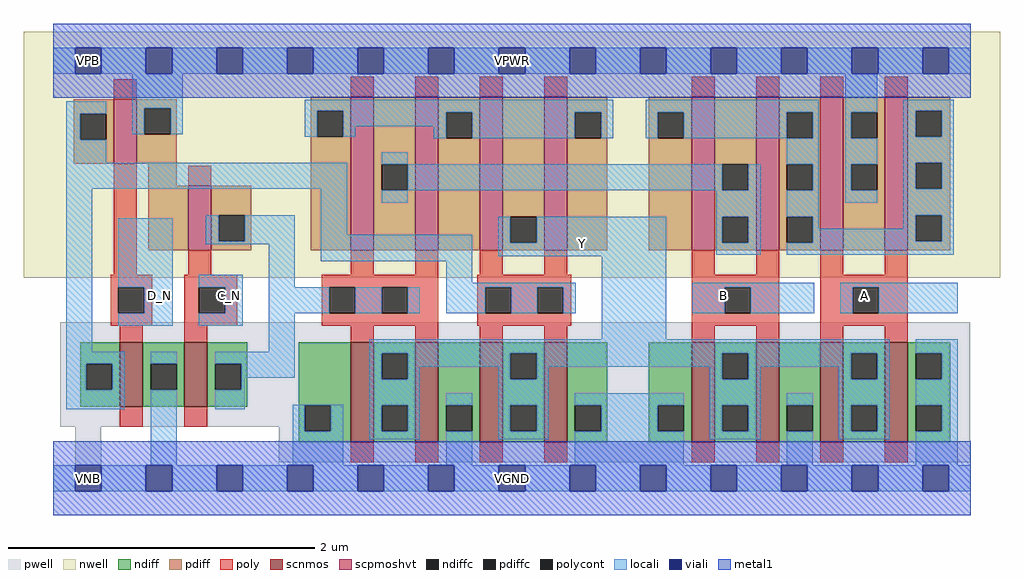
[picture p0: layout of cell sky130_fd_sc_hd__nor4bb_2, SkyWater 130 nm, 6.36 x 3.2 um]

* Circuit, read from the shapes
.subckt sky130_fd_sc_hd__nor4bb_2 A B C_N D_N VGND VNB VPB VPWR Y
XM1 VGND D_N n1 VNB sky130_fd_pr__nfet_01v8 w=0.42 l=0.15
XM2 n2 C_N VGND VNB sky130_fd_pr__nfet_01v8 w=0.42 l=0.15
XM3 Y n2 VGND VNB sky130_fd_pr__nfet_01v8 w=0.65 l=0.15 m=2
XM4 Y n1 VGND VNB sky130_fd_pr__nfet_01v8 w=0.65 l=0.15 m=2
XM5 Y B VGND VNB sky130_fd_pr__nfet_01v8 w=0.65 l=0.15 m=2
XM6 Y A VGND VNB sky130_fd_pr__nfet_01v8 w=0.65 l=0.15 m=2
XM7 VPWR D_N n1 VPB sky130_fd_pr__pfet_01v8_hvt w=0.42 l=0.15
XM8 n2 C_N VPWR VPB sky130_fd_pr__pfet_01v8_hvt w=0.42 l=0.15
XM9 n3 n2 n4 VPB sky130_fd_pr__pfet_01v8_hvt w=1 l=0.15 m=2
XM10 Y n1 n4 VPB sky130_fd_pr__pfet_01v8_hvt w=1 l=0.15 m=2
XM11 n3 B n5 VPB sky130_fd_pr__pfet_01v8_hvt w=1 l=0.15 m=2
XM12 VPWR A n5 VPB sky130_fd_pr__pfet_01v8_hvt w=1 l=0.15 m=2
.ends

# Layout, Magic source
magic
tech sky130A
magscale 1 2
<< nwell >>
rect -38 261 1234 582
<< pwell >>
rect 9 67 1195 203
rect 29 -17 63 67
rect 294 21 1195 67
<< scnmos >>
rect 87 93 117 177
rect 171 93 201 177
rect 388 47 418 177
rect 472 47 502 177
rect 556 47 586 177
rect 640 47 670 177
rect 832 47 862 177
rect 916 47 946 177
rect 1000 47 1030 177
rect 1084 47 1114 177
<< scpmoshvt >>
rect 79 410 109 494
rect 176 297 206 381
rect 388 297 418 497
rect 472 297 502 497
rect 556 297 586 497
rect 640 297 670 497
rect 832 297 862 497
rect 916 297 946 497
rect 1000 297 1030 497
rect 1084 297 1114 497
<< ndiff >>
rect 35 149 87 177
rect 35 115 43 149
rect 77 115 87 149
rect 35 93 87 115
rect 117 149 171 177
rect 117 115 127 149
rect 161 115 171 149
rect 117 93 171 115
rect 201 149 253 177
rect 201 115 211 149
rect 245 115 253 149
rect 201 93 253 115
rect 320 95 388 177
rect 320 61 328 95
rect 362 61 388 95
rect 320 47 388 61
rect 418 163 472 177
rect 418 129 428 163
rect 462 129 472 163
rect 418 95 472 129
rect 418 61 428 95
rect 462 61 472 95
rect 418 47 472 61
rect 502 95 556 177
rect 502 61 512 95
rect 546 61 556 95
rect 502 47 556 61
rect 586 163 640 177
rect 586 129 596 163
rect 630 129 640 163
rect 586 95 640 129
rect 586 61 596 95
rect 630 61 640 95
rect 586 47 640 61
rect 670 95 722 177
rect 670 61 680 95
rect 714 61 722 95
rect 670 47 722 61
rect 776 95 832 177
rect 776 61 788 95
rect 822 61 832 95
rect 776 47 832 61
rect 862 163 916 177
rect 862 129 872 163
rect 906 129 916 163
rect 862 95 916 129
rect 862 61 872 95
rect 906 61 916 95
rect 862 47 916 61
rect 946 95 1000 177
rect 946 61 956 95
rect 990 61 1000 95
rect 946 47 1000 61
rect 1030 163 1084 177
rect 1030 129 1040 163
rect 1074 129 1084 163
rect 1030 95 1084 129
rect 1030 61 1040 95
rect 1074 61 1084 95
rect 1030 47 1084 61
rect 1114 163 1169 177
rect 1114 129 1124 163
rect 1158 129 1169 163
rect 1114 95 1169 129
rect 1114 61 1124 95
rect 1158 61 1169 95
rect 1114 47 1169 61
<< pdiff >>
rect 27 475 79 494
rect 27 441 35 475
rect 69 441 79 475
rect 27 410 79 441
rect 109 482 161 494
rect 109 448 119 482
rect 153 448 161 482
rect 109 410 161 448
rect 124 381 161 410
rect 336 479 388 497
rect 336 445 344 479
rect 378 445 388 479
rect 124 297 176 381
rect 206 343 258 381
rect 206 309 216 343
rect 250 309 258 343
rect 206 297 258 309
rect 336 297 388 445
rect 418 409 472 497
rect 418 375 428 409
rect 462 375 472 409
rect 418 297 472 375
rect 502 477 556 497
rect 502 443 512 477
rect 546 443 556 477
rect 502 297 556 443
rect 586 341 640 497
rect 586 307 596 341
rect 630 307 640 341
rect 586 297 640 307
rect 670 477 722 497
rect 670 443 680 477
rect 714 443 722 477
rect 670 297 722 443
rect 776 477 832 497
rect 776 443 788 477
rect 822 443 832 477
rect 776 297 832 443
rect 862 409 916 497
rect 862 375 872 409
rect 906 375 916 409
rect 862 341 916 375
rect 862 307 872 341
rect 906 307 916 341
rect 862 297 916 307
rect 946 477 1000 497
rect 946 443 956 477
rect 990 443 1000 477
rect 946 409 1000 443
rect 946 375 956 409
rect 990 375 1000 409
rect 946 341 1000 375
rect 946 307 956 341
rect 990 307 1000 341
rect 946 297 1000 307
rect 1030 477 1084 497
rect 1030 443 1040 477
rect 1074 443 1084 477
rect 1030 409 1084 443
rect 1030 375 1040 409
rect 1074 375 1084 409
rect 1030 297 1084 375
rect 1114 479 1169 497
rect 1114 445 1124 479
rect 1158 445 1169 479
rect 1114 411 1169 445
rect 1114 377 1124 411
rect 1158 377 1169 411
rect 1114 343 1169 377
rect 1114 309 1124 343
rect 1158 309 1169 343
rect 1114 297 1169 309
<< ndiffc >>
rect 43 115 77 149
rect 127 115 161 149
rect 211 115 245 149
rect 328 61 362 95
rect 428 129 462 163
rect 428 61 462 95
rect 512 61 546 95
rect 596 129 630 163
rect 596 61 630 95
rect 680 61 714 95
rect 788 61 822 95
rect 872 129 906 163
rect 872 61 906 95
rect 956 61 990 95
rect 1040 129 1074 163
rect 1040 61 1074 95
rect 1124 129 1158 163
rect 1124 61 1158 95
<< pdiffc >>
rect 35 441 69 475
rect 119 448 153 482
rect 344 445 378 479
rect 216 309 250 343
rect 428 375 462 409
rect 512 443 546 477
rect 596 307 630 341
rect 680 443 714 477
rect 788 443 822 477
rect 872 375 906 409
rect 872 307 906 341
rect 956 443 990 477
rect 956 375 990 409
rect 956 307 990 341
rect 1040 443 1074 477
rect 1040 375 1074 409
rect 1124 445 1158 479
rect 1124 377 1158 411
rect 1124 309 1158 343
<< poly >>
rect 79 494 109 520
rect 388 497 418 523
rect 472 497 502 523
rect 556 497 586 523
rect 640 497 670 523
rect 832 497 862 523
rect 916 497 946 523
rect 1000 497 1030 523
rect 1084 497 1114 523
rect 79 265 109 410
rect 176 381 206 407
rect 176 265 206 297
rect 388 265 418 297
rect 472 265 502 297
rect 556 265 586 297
rect 640 265 670 297
rect 832 265 862 297
rect 916 265 946 297
rect 75 249 129 265
rect 75 215 85 249
rect 119 215 129 249
rect 75 199 129 215
rect 171 249 240 265
rect 171 215 190 249
rect 224 215 240 249
rect 171 199 240 215
rect 350 249 502 265
rect 350 215 360 249
rect 394 215 428 249
rect 462 215 502 249
rect 350 199 502 215
rect 553 249 675 265
rect 553 215 563 249
rect 597 215 631 249
rect 665 215 675 249
rect 553 199 675 215
rect 832 249 946 265
rect 832 215 875 249
rect 909 215 946 249
rect 832 199 946 215
rect 87 177 117 199
rect 171 177 201 199
rect 388 177 418 199
rect 472 177 502 199
rect 556 177 586 199
rect 640 177 670 199
rect 832 177 862 199
rect 916 177 946 199
rect 1000 265 1030 297
rect 1084 265 1114 297
rect 1000 249 1114 265
rect 1000 215 1042 249
rect 1076 215 1114 249
rect 1000 199 1114 215
rect 1000 177 1030 199
rect 1084 177 1114 199
rect 87 67 117 93
rect 171 67 201 93
rect 388 21 418 47
rect 472 21 502 47
rect 556 21 586 47
rect 640 21 670 47
rect 832 21 862 47
rect 916 21 946 47
rect 1000 21 1030 47
rect 1084 21 1114 47
<< polycont >>
rect 85 215 119 249
rect 190 215 224 249
rect 360 215 394 249
rect 428 215 462 249
rect 563 215 597 249
rect 631 215 665 249
rect 875 215 909 249
rect 1042 215 1076 249
<< locali >>
rect 0 527 29 561
rect 63 527 121 561
rect 155 527 213 561
rect 247 527 305 561
rect 339 527 397 561
rect 431 527 489 561
rect 523 527 581 561
rect 615 527 673 561
rect 707 527 765 561
rect 799 527 857 561
rect 891 527 949 561
rect 983 527 1041 561
rect 1075 527 1133 561
rect 1167 527 1196 561
rect 17 475 69 491
rect 17 441 35 475
rect 103 482 169 527
rect 103 448 119 482
rect 153 448 169 482
rect 328 479 730 493
rect 328 445 344 479
rect 378 477 730 479
rect 378 459 512 477
rect 378 445 394 459
rect 496 443 512 459
rect 546 443 680 477
rect 714 443 730 477
rect 772 477 998 493
rect 772 443 788 477
rect 822 443 956 477
rect 990 443 998 477
rect 17 411 69 441
rect 17 377 383 411
rect 17 165 51 377
rect 85 249 156 339
rect 199 309 216 343
rect 250 309 315 343
rect 199 305 315 309
rect 119 215 156 249
rect 85 199 156 215
rect 190 249 247 265
rect 224 215 247 249
rect 190 199 247 215
rect 281 249 315 305
rect 349 317 383 377
rect 428 409 462 425
rect 956 409 998 443
rect 462 375 872 409
rect 906 375 922 409
rect 428 359 462 375
rect 864 341 922 375
rect 349 283 546 317
rect 580 307 596 341
rect 630 307 799 341
rect 580 289 799 307
rect 864 307 872 341
rect 906 307 922 341
rect 864 291 922 307
rect 990 375 998 409
rect 956 341 998 375
rect 1032 477 1074 527
rect 1032 443 1040 477
rect 1032 409 1074 443
rect 1032 375 1040 409
rect 1032 359 1074 375
rect 1108 479 1174 493
rect 1108 445 1124 479
rect 1158 445 1174 479
rect 1108 411 1174 445
rect 1108 377 1124 411
rect 1158 377 1174 411
rect 990 325 998 341
rect 1108 343 1174 377
rect 1108 325 1124 343
rect 990 309 1124 325
rect 1158 309 1174 343
rect 990 307 1174 309
rect 956 291 1174 307
rect 512 255 546 283
rect 512 249 681 255
rect 281 215 360 249
rect 394 215 428 249
rect 462 215 478 249
rect 512 215 563 249
rect 597 215 631 249
rect 665 215 681 249
rect 281 165 315 215
rect 715 181 799 289
rect 833 249 992 255
rect 833 215 875 249
rect 909 215 992 249
rect 1026 249 1179 255
rect 1026 215 1042 249
rect 1076 215 1179 249
rect 17 149 93 165
rect 17 115 43 149
rect 77 115 93 149
rect 17 90 93 115
rect 127 149 161 165
rect 127 17 161 115
rect 211 149 315 165
rect 245 131 315 149
rect 412 163 1090 181
rect 245 115 250 131
rect 211 90 250 115
rect 412 129 428 163
rect 462 145 596 163
rect 462 129 478 145
rect 312 95 378 96
rect 312 61 328 95
rect 362 61 378 95
rect 312 17 378 61
rect 412 95 478 129
rect 580 129 596 145
rect 630 145 872 163
rect 630 129 646 145
rect 412 61 428 95
rect 462 61 478 95
rect 412 51 478 61
rect 512 95 546 111
rect 512 17 546 61
rect 580 95 646 129
rect 856 129 872 145
rect 906 145 1040 163
rect 906 129 922 145
rect 580 61 596 95
rect 630 61 646 95
rect 580 51 646 61
rect 680 95 822 111
rect 714 61 788 95
rect 680 17 822 61
rect 856 95 922 129
rect 1024 129 1040 145
rect 1074 129 1090 163
rect 856 61 872 95
rect 906 61 922 95
rect 856 51 922 61
rect 956 95 990 111
rect 956 17 990 61
rect 1024 95 1090 129
rect 1024 61 1040 95
rect 1074 61 1090 95
rect 1024 51 1090 61
rect 1124 163 1179 181
rect 1158 129 1179 163
rect 1124 95 1179 129
rect 1158 61 1179 95
rect 1124 17 1179 61
rect 0 -17 29 17
rect 63 -17 121 17
rect 155 -17 213 17
rect 247 -17 305 17
rect 339 -17 397 17
rect 431 -17 489 17
rect 523 -17 581 17
rect 615 -17 673 17
rect 707 -17 765 17
rect 799 -17 857 17
rect 891 -17 949 17
rect 983 -17 1041 17
rect 1075 -17 1133 17
rect 1167 -17 1196 17
<< viali >>
rect 29 527 63 561
rect 121 527 155 561
rect 213 527 247 561
rect 305 527 339 561
rect 397 527 431 561
rect 489 527 523 561
rect 581 527 615 561
rect 673 527 707 561
rect 765 527 799 561
rect 857 527 891 561
rect 949 527 983 561
rect 1041 527 1075 561
rect 1133 527 1167 561
rect 29 -17 63 17
rect 121 -17 155 17
rect 213 -17 247 17
rect 305 -17 339 17
rect 397 -17 431 17
rect 489 -17 523 17
rect 581 -17 615 17
rect 673 -17 707 17
rect 765 -17 799 17
rect 857 -17 891 17
rect 949 -17 983 17
rect 1041 -17 1075 17
rect 1133 -17 1167 17
<< metal1 >>
rect 0 561 1196 592
rect 0 527 29 561
rect 63 527 121 561
rect 155 527 213 561
rect 247 527 305 561
rect 339 527 397 561
rect 431 527 489 561
rect 523 527 581 561
rect 615 527 673 561
rect 707 527 765 561
rect 799 527 857 561
rect 891 527 949 561
rect 983 527 1041 561
rect 1075 527 1133 561
rect 1167 527 1196 561
rect 0 496 1196 527
rect 0 17 1196 48
rect 0 -17 29 17
rect 63 -17 121 17
rect 155 -17 213 17
rect 247 -17 305 17
rect 339 -17 397 17
rect 431 -17 489 17
rect 523 -17 581 17
rect 615 -17 673 17
rect 707 -17 765 17
rect 799 -17 857 17
rect 891 -17 949 17
rect 983 -17 1041 17
rect 1075 -17 1133 17
rect 1167 -17 1196 17
rect 0 -48 1196 -17
<< labels >>
flabel locali s 122 221 156 255 0 FreeSans 400 0 0 0 D_N
port 4 nsew signal input
flabel locali s 213 221 247 255 0 FreeSans 400 0 0 0 C_N
port 3 nsew signal input
flabel locali s 1041 221 1075 255 0 FreeSans 400 180 0 0 A
port 1 nsew signal input
flabel locali s 673 289 707 323 0 FreeSans 400 180 0 0 Y
port 9 nsew signal output
flabel locali s 857 221 891 255 0 FreeSans 400 180 0 0 B
port 2 nsew signal input
flabel pwell s 29 -17 63 17 0 FreeSans 200 0 0 0 VNB
port 6 nsew ground bidirectional
flabel nwell s 29 527 63 561 0 FreeSans 200 0 0 0 VPB
port 7 nsew power bidirectional
flabel metal1 s 29 -17 63 17 0 FreeSans 200 0 0 0 VGND
port 5 nsew ground bidirectional abutment
flabel metal1 s 29 527 63 561 0 FreeSans 200 0 0 0 VPWR
port 8 nsew power bidirectional abutment
rlabel comment s 0 0 0 0 4 nor4bb_2
rlabel metal1 s 0 -48 1196 48 1 VGND
port 5 nsew ground bidirectional abutment
rlabel metal1 s 0 496 1196 592 1 VPWR
port 8 nsew power bidirectional abutment
<< properties >>
string FIXED_BBOX 0 0 1196 544
string GDS_END 1192110
string GDS_FILE $PDKPATH/libs.ref/sky130_fd_sc_hd/gds/sky130_fd_sc_hd.gds
string GDS_START 1182786
string LEFclass CORE
string LEFsite unithd
string LEFsymmetry X Y R90
string path 0.000 0.000 5.980 0.000 
<< end >>
